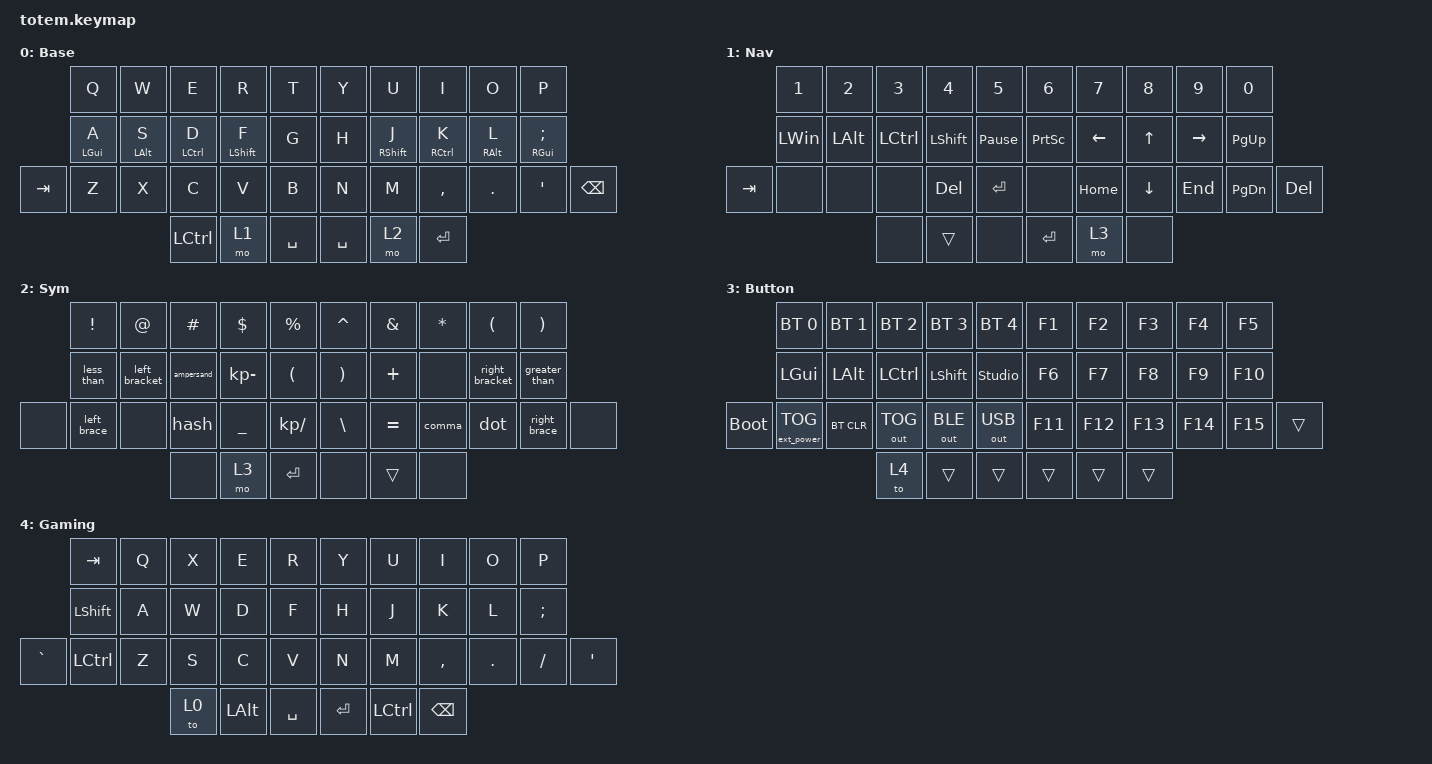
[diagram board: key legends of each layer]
//
//                                                        ▀▀▀▀▀     ▀▀▀▀▀          ▀▀█▀▀
//                                                        ▄▀▀▀▄  ▄  ▄▀▀▀▄  ▄  ▄▀▀▀▄  █  ▄▀▀▀▄
//                                                        █   █  █  █   █  █  █   █  █  █   █
//                                                         ▀▀▀   █   ▀▀▀   █   ▀▀▀   ▀   ▀▀▀
//                                                               █      ▄▄▄█▄▄▄    █   █  
//                                                               ▀      █  █  █     █▄█
//                                                             ▀▀▀▀▀    █  █  █      ▀
//                                                                      ▀  ▀  ▀
//
// ▄▄▄▄▄▄▄▄▄▄▄▄▄▄▄▄▄▄▄▄▄▄▄▄▄▄▄▄▄▄▄▄▄▄▄▄▄▄▄▄▄▄▄▄▄▄▄▄▄▄▄▄▄▄▄▄▄▄▄▄▄▄▄▄▄▄▄▄▄▄▄▄▄▄▄▄▄▄▄▄▄▄▄▄▄▄▄▄▄▄▄▄▄▄▄▄▄▄▄▄▄▄▄▄▄▄▄▄▄▄▄▄▄▄▄▄▄▄▄▄▄▄▄▄▄▄▄▄▄▄▄▄▄▄▄▄▄▄▄▄▄▄▄▄▄▄▄▄▄

#include <behaviors.dtsi>
#include <dt-bindings/zmk/bt.h>
#include <dt-bindings/zmk/ext_power.h>
#include <dt-bindings/zmk/keys.h>
#include <dt-bindings/zmk/outputs.h>

#define Base        0
#define Nav         1
#define Sym         2
#define Fun         3
#define Button      4
#define Game        5
#define Gameplus    6

&mt {
    quick-tap-ms = <100>;
    global-quick-tap;
    flavor = "tap-preferred";
    tapping-term-ms = <170>;
};

&lt {
    tapping-term-ms = <240>;
    flavor = "balanced";
    quick-tap-ms = <150>;
};

&mo { locking; };

/ {
    behaviors {
        hm: homerow_mods {
            compatible = "zmk,behavior-hold-tap";
            #binding-cells = <2>;
            flavor = "tap-preferred";
            tapping-term-ms = <200>;
            quick-tap-ms = <125>;
            global-quick-tap;
            bindings = <&kp>, <&kp>;
        };

        hml: HMLeft {
            compatible = "zmk,behavior-hold-tap";
            bindings = <&kp>, <&kp>;

            #binding-cells = <2>;
            tapping-term-ms = <250>;
            quick-tap-ms = <165>;
            require-prior-idle-ms = <150>;
            flavor = "balanced";
            hold-trigger-key-positions = <5 15 27 26 35 34 33 32 36 37 16 6 7 28 17 8 18 29 19 9 30 31>;
            hold-trigger-on-release;
        };

        hmr: HMRight {
            compatible = "zmk,behavior-hold-tap";
            bindings = <&kp>, <&kp>;

            #binding-cells = <2>;
            tapping-term-ms = <250>;
            quick-tap-ms = <165>;
            require-prior-idle-ms = <150>;
            flavor = "balanced";
            hold-trigger-on-release;
            hold-trigger-key-positions = <0 1 2 3 4 10 11 12 13 14 20 21 22 23 24 25 24 25 32 33 34 34 35 36 37>;
        };
    };

    macros {
        change_language: change_language {
            compatible = "zmk,behavior-macro";
            #binding-cells = <0>;
            bindings = <&kp LS(LEFT_ALT)>;
            label = "CHANGE_LANGUAGE";
        };

        left_bracket: left_bracket {
            compatible = "zmk,behavior-macro";
            #binding-cells = <0>;
            bindings = <&change_language &kp LBKT &change_language>;
            label = "LEFT_BRACKET";
        };

        right_bracket: right_bracket {
            compatible = "zmk,behavior-macro";
            #binding-cells = <0>;
            bindings = <&change_language &kp RBKT &change_language>;
            label = "RIGHT_BRACKET";
        };

        left_brace: left_brace {
            compatible = "zmk,behavior-macro";
            #binding-cells = <0>;
            bindings = <&change_language &kp LBRC &change_language>;
            label = "LEFT_BRACE";
        };

        right_brace: right_brace {
            compatible = "zmk,behavior-macro";
            #binding-cells = <0>;
            bindings = <&change_language &kp RBRC &change_language>;
            label = "RIGHT_BRACE";
        };

        less_than: less_than {
            compatible = "zmk,behavior-macro";
            #binding-cells = <0>;
            bindings = <&change_language &kp LESS_THAN &change_language>;
            label = "LESS_THAN";
        };

        greater_than: greater_than {
            compatible = "zmk,behavior-macro";
            #binding-cells = <0>;
            bindings = <&change_language &kp GREATER_THAN &change_language>;
            label = "GREATER_THAN";
        };

        ampersand: ampersand {
            compatible = "zmk,behavior-macro";
            #binding-cells = <0>;
            bindings = <&change_language &kp AMPERSAND &change_language>;
            label = "AMPERSAND";
        };

        hash: hash {
            compatible = "zmk,behavior-macro";
            #binding-cells = <0>;
            bindings = <&change_language &kp HASH &change_language>;
            label = "HASH";
        };

        comma: comma {
            compatible = "zmk,behavior-macro";
            #binding-cells = <0>;
            bindings = <&change_language &kp COMMA &change_language>;
            label = "COMMA";
        };

        dot: dot {
            compatible = "zmk,behavior-macro";
            #binding-cells = <0>;
            bindings = <&change_language &kp DOT &change_language>;
            label = "DOT";
        };
    };

    combos {
        compatible = "zmk,combos";

        esc {
            bindings = <&kp ESC>;
            key-positions = <0 1>;
        };

        kha {
            bindings = <&kp LEFT_BRACKET>;
            key-positions = <6 7>;
        };

        yo {
            bindings = <&kp GRAVE>;
            key-positions = <3 4>;
        };

        hard_sign {
            bindings = <&kp RBKT>;
            key-positions = <7 8>;
        };

        dot {
            bindings = <&dot>;
            key-positions = <23 24>;
        };

        comma {
            bindings = <&comma>;
            key-positions = <27 28>;
        };
    };

    keymap {
        compatible = "zmk,keymap";

        Base {
            display-name = "Base";
            bindings = <
         &kp Q            &kp W        &kp E             &kp R          &kp T        &kp Y      &kp U         &kp I         &kp O        &kp P
         &hml LEFT_GUI A  &hml LALT S  &hm LCTRL D       &hml LSHIFT F  &kp G        &kp H      &hmr RSHFT J  &hmr RCTRL K  &hmr RALT L  &hmr RGUI SEMICOLON
&kp TAB  &kp Z            &kp X        &kp C             &kp V          &kp B        &kp N      &kp M         &kp COMMA     &kp DOT      &kp APOSTROPHE       &kp BACKSPACE
                                       &kp LEFT_CONTROL  &mo 1          &kp SPACE    &kp SPACE  &mo 2         &kp ENTER
            >;
        };

        Nav {
            display-name = "Nav";
            bindings = <
         &kp NUMBER_1  &kp NUMBER_2  &kp NUMBER_3      &kp NUMBER_4    &kp N5             &kp NUMBER_6     &kp NUMBER_7  &kp NUMBER_8  &kp NUMBER_9  &kp N0
         &kp LEFT_WIN  &kp LEFT_ALT  &kp LEFT_CONTROL  &kp LEFT_SHIFT  &kp PAUSE_BREAK    &kp PRINTSCREEN  &kp LEFT      &kp UP_ARROW  &kp RIGHT     &kp PAGE_UP
&kp TAB  &none         &none         &none             &kp DELETE      &kp ENTER          &none            &kp HOME      &kp DOWN      &kp END       &kp PAGE_DOWN  &kp DELETE
                                     &none             &trans          &none              &kp ENTER        &mo 3         &none
            >;
        };

        Sym {
            display-name = "Sym";
            bindings = <
       &kp EXCL     &kp AT         &kp HASH    &kp DOLLAR      &kp PERCENT             &kp CARET              &kp AMPS   &kp ASTRK  &kp LEFT_PARENTHESIS  &kp RIGHT_PARENTHESIS
       &less_than   &left_bracket  &ampersand  &kp KP_MINUS    &kp LEFT_PARENTHESIS    &kp RIGHT_PARENTHESIS  &kp PLUS   &none      &right_bracket        &greater_than
&none  &left_brace  &none          &hash       &kp UNDERSCORE  &kp KP_SLASH            &kp BACKSLASH          &kp EQUAL  &comma     &dot                  &right_brace           &none
                                   &none       &mo 3           &kp ENTER               &none                  &trans     &none
            >;
        };

        Button {
            display-name = "Button";
            bindings = <
             &bt BT_SEL 0       &bt BT_SEL 1  &bt BT_SEL 2  &bt BT_SEL 3    &bt BT_SEL 4      &kp F1   &kp F2   &kp F3   &kp F4   &kp F5
             &kp LGUI           &kp LALT      &kp LCTRL     &kp LEFT_SHIFT  &studio_unlock    &kp F6   &kp F7   &kp F8   &kp F9   &kp F10
&bootloader  &ext_power EP_TOG  &bt BT_CLR    &out OUT_TOG  &out OUT_BLE    &out OUT_USB      &kp F11  &kp F12  &kp F13  &kp F14  &kp F15  &trans
                                              &to 4         &trans          &trans            &trans   &trans   &trans
            >;
        };

        Gaming {
            bindings = <
           &kp TAB           &kp Q  &kp X  &kp E         &kp R        &kp Y    &kp U             &kp I          &kp O    &kp P
           &kp LEFT_SHIFT    &kp A  &kp W  &kp D         &kp F        &kp H    &kp J             &kp K          &kp L    &kp SEMICOLON
&kp GRAVE  &kp LEFT_CONTROL  &kp Z  &kp S  &kp C         &kp V        &kp N    &kp M             &kp COMMA      &kp DOT  &kp SLASH      &kp APOS
                                    &to 0  &kp LEFT_ALT  &kp SPACE    &kp RET  &kp LEFT_CONTROL  &kp BACKSPACE
            >;

            display-name = "Gaming";
        };
    };
};
